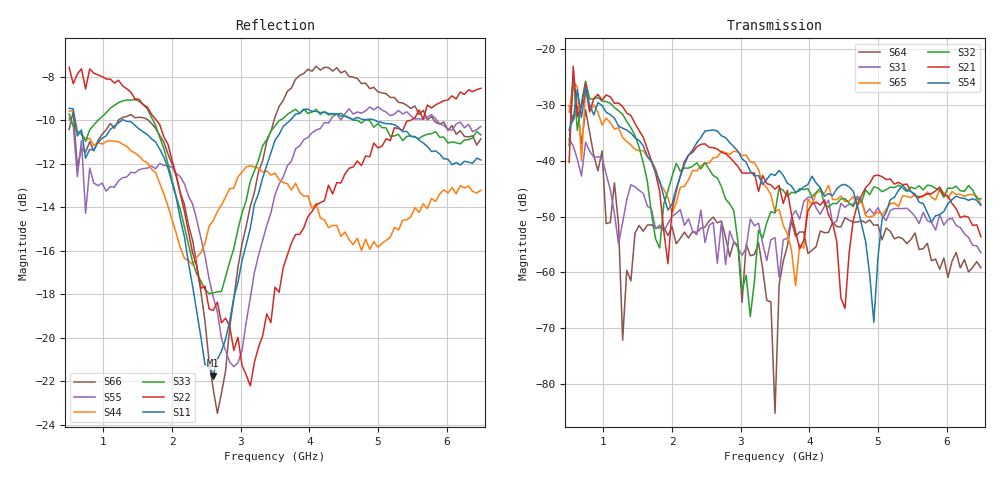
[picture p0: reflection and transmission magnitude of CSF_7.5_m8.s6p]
!Keysight Technologies,M9804A,MY58100912,A.14.10.03
!Date: Thursday, April 27, 2023 10:28:33
!Correction: S11(C  6-Port  )
!S12(C  6-Port  )
!S13(C  6-Port  )
!S14(C  6-Port  )
!S15(C  6-Port  )
!S16(C  6-Port  )
!S21(C  6-Port  )
!S22(C  6-Port  )
!S23(C  6-Port  )
!S24(C  6-Port  )
!S25(C  6-Port  )
!S26(C  6-Port  )
!S31(C  6-Port  )
!S32(C  6-Port  )
!S33(C  6-Port  )
!S34(C  6-Port  )
!S35(C  6-Port  )
!S36(C  6-Port  )
!S41(C  6-Port  )
!S42(C  6-Port  )
!S43(C  6-Port  )
!S44(C  6-Port  )
!S45(C  6-Port  )
!S46(C  6-Port  )
!S51(C  6-Port  )
!S52(C  6-Port  )
!S53(C  6-Port  )
!S54(C  6-Port  )
!S55(C  6-Port  )
!S56(C  6-Port  )
!S61(C  6-Port  )
!S62(C  6-Port  )
!S63(C  6-Port  )
!S64(C  6-Port  )
!S65(C  6-Port  )
!S66(C  6-Port  )
!S6P File: Measurement: :
# Hz S  RI  R 50
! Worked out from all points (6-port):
!   101 points, 500 MHz to 6.5 GHz, reference 50 ohm
!   strongest paths, dB at 500 MHz, 2 GHz, 3.5 GHz, 5 GHz, 6.5 GHz:
!     S54: -34.5, -47.8, -42.6, -57.4, -48.0
!     S21: -40.3, -48.8, -45.1, -42.6, -53.6
!     S32: -37.3, -42.8, -49.3, -44.9, -46.8
!     S65: -31.3, -49.4, -49.1, -49.1, -47.8
!     S31: -36.1, -50.0, -53.8, -48.4, -56.5
!     S64: -30.1, -51.8, -85.2, -51.5, -59.2
!   lowest |S11| = -21.8 dB at 2.6 GHz (marker M1), VSWR 1.18, Z = 42.7 + j1.95 ohm
!   |S11| at or under -10 dB: 585.4 MHz to 1.264 GHz (678.6 MHz wide, 73.4 % of centre); 1.308 GHz to 3.718 GHz (2.41 GHz wide, 95.9 % of centre); 4.959 GHz to end of sweep
